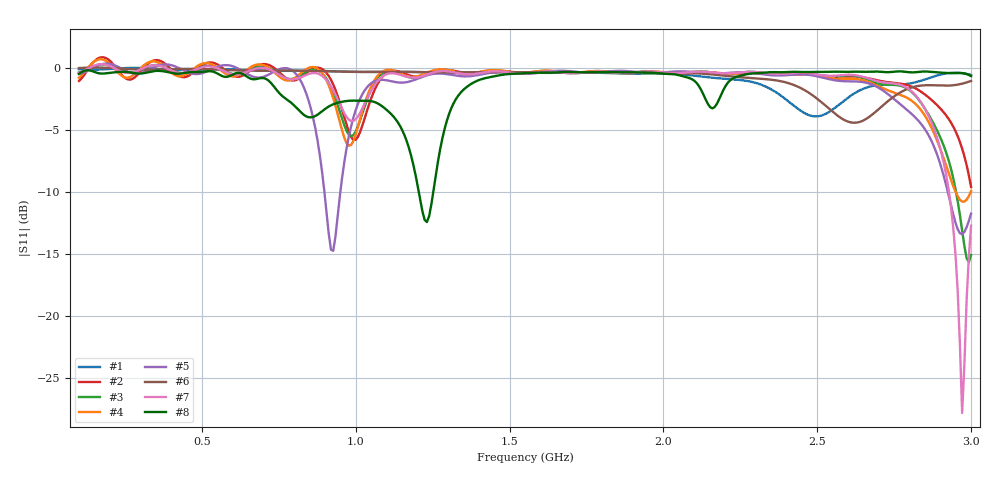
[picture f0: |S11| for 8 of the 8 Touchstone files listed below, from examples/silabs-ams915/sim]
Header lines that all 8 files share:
! stackup: file
! copper: sheet, mask: False
# Hz S RI R 50
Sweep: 100 MHz to 3 GHz
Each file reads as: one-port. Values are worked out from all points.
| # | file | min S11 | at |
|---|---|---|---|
| 1 | WES0115-01-APF915P_panic-IFA_fine.s1p | -3.9 dB | 2.493 GHz |
| 2 | WES0115-01-APF915P_panic-IFA_gerber_arm015.s1p | -9.6 dB | 3 GHz |
| 3 | WES0115-01-APF915P_panic-IFA_gerber_arm.s1p | -15.6 dB | 2.993 GHz |
| 4 | WES0115-01-APF915P_panic-IFA_gerber_sma.s1p | -10.7 dB | 2.978 GHz |
| 5 | WES0115-01-APF915P_panic-IFA_gerber_vna.s1p | -14.7 dB | 926.5 MHz |
| 6 | WES0115-01-APF915P_panic-IFA_pads_0r.s1p | -4.4 dB | 2.623 GHz |
| 7 | WES0115-01-APF915P_panic-IFA_pads_arm.s1p | -27.8 dB | 2.971 GHz |
| 8 | WES0117-01-APN915D_meander.s1p | -12.4 dB | 1.231 GHz |
